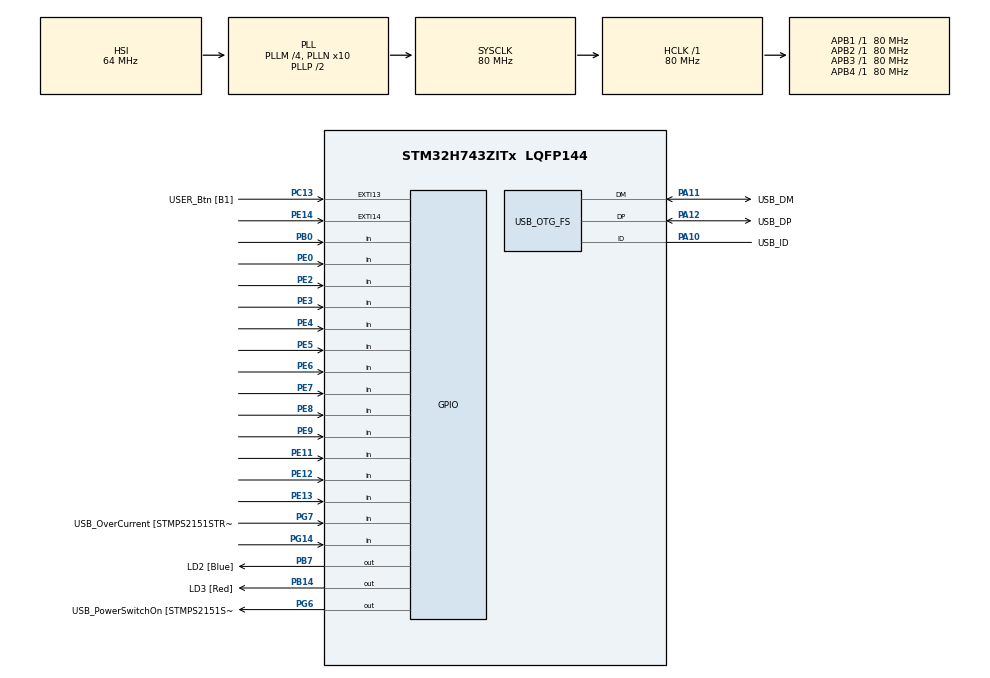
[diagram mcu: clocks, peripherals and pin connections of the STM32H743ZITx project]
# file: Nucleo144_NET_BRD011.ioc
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Bdma.MEMTOMEM.0.Direction=DMA_MEMORY_TO_MEMORY
Bdma.MEMTOMEM.0.EventEnable=DISABLE
Bdma.MEMTOMEM.0.Instance=BDMA_Channel0
Bdma.MEMTOMEM.0.MemDataAlignment=DMA_MDATAALIGN_HALFWORD
Bdma.MEMTOMEM.0.MemInc=DMA_MINC_ENABLE
Bdma.MEMTOMEM.0.Mode=DMA_NORMAL
Bdma.MEMTOMEM.0.PeriphDataAlignment=DMA_PDATAALIGN_HALFWORD
Bdma.MEMTOMEM.0.PeriphInc=DMA_PINC_ENABLE
Bdma.MEMTOMEM.0.Polarity=HAL_DMAMUX_REQ_GEN_RISING
Bdma.MEMTOMEM.0.Priority=DMA_PRIORITY_MEDIUM
Bdma.MEMTOMEM.0.RequestNumber=1
Bdma.MEMTOMEM.0.SignalID=HAL_DMAMUX2_REQ_GEN_BDMA_CH0_IT
Bdma.MEMTOMEM.0.SyncEnable=DISABLE
Bdma.MEMTOMEM.0.SyncPolarity=HAL_DMAMUX_SYNC_NO_EVENT
Bdma.MEMTOMEM.0.SyncRequestNumber=1
Bdma.Request0=MEMTOMEM
Bdma.RequestsNb=1
Mcu.Family=STM32H7
Mcu.Name=STM32H743ZITx
Mcu.Package=LQFP144
NVIC.PriorityGroup=NVIC_PRIORITYGROUP_4
PA1.GPIO_Label=RMII_REF_CLK
PA1.Signal=ETH_REF_CLK
PA10.GPIO_Label=USB_ID
PA10.Mode=OTG/Dual_Role_Device
PA10.Signal=USB_OTG_FS_ID
PA11.GPIO_Label=USB_DM
PA11.Mode=OTG/Dual_Role_Device
PA11.Signal=USB_OTG_FS_DM
PA12.GPIO_Label=USB_DP
PA12.Mode=OTG/Dual_Role_Device
PA12.Signal=USB_OTG_FS_DP
PA13.GPIO_Label=TMS
PA13.Signal=SYS_JTMS-SWDIO
PA14.GPIO_Label=TCK
PA14.Signal=SYS_JTCK-SWCLK
PA2.GPIO_Label=RMII_MDIO
PA2.Signal=ETH_MDIO
PA7.GPIO_Label=RMII_CRS_DV
PA7.Signal=ETH_CRS_DV
PA8.GPIO_Label=USB_SOF [TP1]
PA8.Signal=USB_OTG_FS_SOF
PA9.GPIO_Label=USB_VBUS
PA9.Signal=USB_OTG_FS_VBUS
PB0.Signal=GPIO_Input
PB13.GPIO_Label=RMII_TXD1
PB13.Signal=ETH_TXD1
PB14.GPIO_Label=LD3 [Red]
PB14.Signal=GPIO_Output
PB3.GPIO_Label=SWO
PB3.Signal=SYS_JTDO-SWO
PB7.GPIO_Label=LD2 [Blue]
PB7.Signal=GPIO_Output
PC1.GPIO_Label=RMII_MDC
PC1.Signal=ETH_MDC
PC13.GPIO_Label=USER_Btn [B1]
PC13.Signal=GPXTI13
PC14-OSC32_IN.Signal=RCC_OSC32_IN
PC15-OSC32_OUT.Signal=RCC_OSC32_OUT
PC4.GPIO_Label=RMII_RXD0
PC4.Signal=ETH_RXD0
PC5.GPIO_Label=RMII_RXD1
PC5.Signal=ETH_RXD1
PD8.GPIO_Label=STLK_RX [STM32F103CBT6_PA3]
PD8.Signal=USART3_TX
PD9.GPIO_Label=STLK_TX [STM32F103CBT6_PA2]
PD9.Signal=USART3_RX
PE0.Signal=GPIO_Input
PE11.Signal=GPIO_Input
PE12.Signal=GPIO_Input
PE13.Signal=GPIO_Input
PE14.Signal=GPXTI14
PE2.Signal=GPIO_Input
PE3.Signal=GPIO_Input
PE4.Signal=GPIO_Input
PE5.Signal=GPIO_Input
PE6.Signal=GPIO_Input
PE7.Signal=GPIO_Input
PE8.Signal=GPIO_Input
PE9.Signal=GPIO_Input
PG11.GPIO_Label=RMII_TX_EN
PG11.Signal=ETH_TX_EN
PG13.GPIO_Label=RMII_TXD0
PG13.Signal=ETH_TXD0
PG14.Signal=GPIO_Input
PG6.GPIO_Label=USB_PowerSwitchOn [STMPS2151STR_EN]
PG6.Signal=GPIO_Output
PG7.GPIO_Label=USB_OverCurrent [STMPS2151STR_FAULT]
PG7.Signal=GPIO_Input
PH0-OSC_IN.GPIO_Label=MCO
PH0-OSC_IN.Signal=RCC_OSC_IN
ProjectManager.HeapSize=0x200
ProjectManager.StackSize=0x400
ProjectManager.TargetToolchain=SW4STM32
RCC.48MHZClocksFreq_Value=24000000
RCC.ADCFreq_Value=129000000
RCC.AHBFreq_Value=216000000
RCC.APB1CLKDivider=RCC_HCLK_DIV4
RCC.APB1Freq_Value=80000000
RCC.APB1TimFreq_Value=108000000
RCC.APB2CLKDivider=RCC_HCLK_DIV2
RCC.APB2Freq_Value=80000000
RCC.APB2TimFreq_Value=216000000
RCC.APB3Freq_Value=80000000
RCC.APB4Freq_Value=80000000
RCC.CortexFreq_Value=80000000
RCC.DIVM1=4
RCC.DIVN1=10
RCC.DIVQ1=4
RCC.HCLKFreq_Value=80000000
RCC.HSE_VALUE=8000000
RCC.HSI_VALUE=64000000
RCC.PLLM=25
RCC.PLLMUL=RCC_PLL_MUL9
RCC.PLLN=432
RCC.PLLQ=9
RCC.PRESCALERUSB=RCC_USBCLKSOURCE_PLL_DIV1_5
RCC.SYSCLKFreq_VALUE=80000000
RCC.SYSCLKSource=RCC_SYSCLKSOURCE_PLLCLK
RCC.SYSCLKSourceVirtual=RCC_SYSCLKSOURCE_PLLCLK
RCC.USBCLockSelection=RCC_USBCLKSOURCE_HSI48
RCC.USBFreq_Value=48000000
RCC.VCOOutputFreq_Value=432000000
VP_RNG_VS_RNG.Mode=RNG_Activate
board=NUCLEO-H743ZI

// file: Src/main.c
/**
  ******************************************************************************
  * @file           : main.c
  * @brief          : Main program body
  ******************************************************************************
  ** This notice applies to any and all portions of this file
  * that are not between comment pairs USER CODE BEGIN and
  * USER CODE END. Other portions of this file, whether
  * inserted by the user or by software development tools
  * are owned by their respective copyright owners.
  *
  * COPYRIGHT(c) 2018 STMicroelectronics
  *
  * Redistribution and use in source and binary forms, with or without modification,
  * are permitted provided that the following conditions are met:
  *   1. Redistributions of source code must retain the above copyright notice,
  *      this list of conditions and the following disclaimer.
  *   2. Redistributions in binary form must reproduce the above copyright notice,
  *      this list of conditions and the following disclaimer in the documentation
  *      and/or other materials provided with the distribution.
  *   3. Neither the name of STMicroelectronics nor the names of its contributors
  *      may be used to endorse or promote products derived from this software
  *      without specific prior written permission.
  *
  * THIS SOFTWARE IS PROVIDED BY THE COPYRIGHT HOLDERS AND CONTRIBUTORS "AS IS"
  * AND ANY EXPRESS OR IMPLIED WARRANTIES, INCLUDING, BUT NOT LIMITED TO, THE
  * IMPLIED WARRANTIES OF MERCHANTABILITY AND FITNESS FOR A PARTICULAR PURPOSE ARE
  * DISCLAIMED. IN NO EVENT SHALL THE COPYRIGHT HOLDER OR CONTRIBUTORS BE LIABLE
  * FOR ANY DIRECT, INDIRECT, INCIDENTAL, SPECIAL, EXEMPLARY, OR CONSEQUENTIAL
  * DAMAGES (INCLUDING, BUT NOT LIMITED TO, PROCUREMENT OF SUBSTITUTE GOODS OR
  * SERVICES; LOSS OF USE, DATA, OR PROFITS; OR BUSINESS INTERRUPTION) HOWEVER
  * CAUSED AND ON ANY THEORY OF LIABILITY, WHETHER IN CONTRACT, STRICT LIABILITY,
  * OR TORT (INCLUDING NEGLIGENCE OR OTHERWISE) ARISING IN ANY WAY OUT OF THE USE
  * OF THIS SOFTWARE, EVEN IF ADVISED OF THE POSSIBILITY OF SUCH DAMAGE.
  *
  ******************************************************************************
  */
#include "main.h"
#include "stm32h7xx_hal.h"

/* USER CODE BEGIN Includes */
#include <unistd.h>
#include "nucleoPinIN.h"
/* USER CODE END Includes */

RNG_HandleTypeDef hrng;

DMA_HandleTypeDef hdma_memtomem_bdma_channel0;

/* USER CODE BEGIN PV */
/* Private variables ---------------------------------------------------------*/

/* USER CODE END PV */

void SystemClock_Config(void);
static void MX_GPIO_Init(void);
static void MX_BDMA_Init(void);
static void MX_RNG_Init(void);
static void MX_USB_OTG_FS_USB_Init(void);

/* USER CODE BEGIN PFP */
/* Private function prototypes -----------------------------------------------*/

/* USER CODE END PFP */

/* USER CODE BEGIN 0 */
extern void initialise_monitor_handles(void);
static tRADAR_ADC_GPIOin ADCin;

static const tNucleoGPIO listRadarADCgpio[] =
{
			{  // bit 0
					GPIOE,
					GPIO_PIN_2
			},
			{  // bit 1
					GPIOE,
					GPIO_PIN_3
			},
			{  // bit 2
					GPIOE,
					GPIO_PIN_4
			},
			{  // bit 3
					GPIOE,
					GPIO_PIN_5
			},
			{  // bit 4
					GPIOE,
					GPIO_PIN_6
			},
			{  // bit 5
					GPIOE,
					GPIO_PIN_7
			},
			{  // bit 6
					GPIOE,
					GPIO_PIN_8
			},
			{  // bit 7
					GPIOE,
					GPIO_PIN_9
			},
			{  // bit 8
					GPIOG,
					GPIO_PIN_14
			},
			{  // bit 9
					GPIOE,
					GPIO_PIN_11
			},
			{  // bit 10
					GPIOE,
					GPIO_PIN_12
			},
			{  // bit 11
					GPIOE,
					GPIO_PIN_13
			}

};

void initRadarADCGPIOmapping()
{
		ADCin.gpio = listRadarADCgpio;
}
/* USER CODE END 0 */

int main(void)
{

  /* MCU Configuration----------------------------------------------------------*/

  /* Reset of all peripherals, Initializes the Flash interface and the Systick. */
  HAL_Init();

  /* Configure the system clock */
  SystemClock_Config();

  /* Initialize all configured peripherals */
  MX_GPIO_Init();
  MX_BDMA_Init();
  MX_RNG_Init();
  MX_USB_OTG_FS_USB_Init();
  /* USER CODE BEGIN 2 */

  /*Configure GPIO pin Output Level */
  HAL_GPIO_WritePin(GPIOB, LD2_Pin, GPIO_PIN_SET);

  /* USER CODE END 2 */

  /* Infinite loop */
  /* USER CODE BEGIN WHILE */
  initialise_monitor_handles();  // for printf()

  GPIO_TypeDef* GPIO_PortButton = GPIOC;
  uint16_t GPIO_PinButton = GPIO_PIN_13;

//  uint16_t GPIO_Pin = GPIO_PIN_2;
//  char gpio_port[] = "GPIOE";
  initRadarADCGPIOmapping();

  while (1)
  {

  /* USER CODE END WHILE */
	  GPIO_PinState stateADCbit;
	  short regADC = 0;
	  for (int bit=0; bit< NET_BRD_011_ADC_OUT_BITS_NUM; bit++)
	  {
		  stateADCbit = HAL_GPIO_ReadPin(ADCin.gpio[bit].port, ADCin.gpio[bit].pin);
		  regADC |= stateADCbit << bit;
	  }

//	  GPIO_PinState state = HAL_GPIO_ReadPin(GPIOE, GPIO_Pin);

	  printf("regADC[12bit] = %d\n",regADC);
//	  printf("GPIO_Pin %s %d = %d \n",gpio_port, GPIO_Pin, state);

	  usleep(2000);
	  while(1)
	  {
		  GPIO_PinState stateButton = HAL_GPIO_ReadPin(GPIO_PortButton, GPIO_PinButton);
		  if (stateButton == GPIO_PIN_SET)
		  {
			  break;
		  }

	  }
  }

}

void SystemClock_Config(void)
{

  RCC_OscInitTypeDef RCC_OscInitStruct;
  RCC_ClkInitTypeDef RCC_ClkInitStruct;
  RCC_PeriphCLKInitTypeDef PeriphClkInitStruct;

    /**Supply configuration update enable
    */
  MODIFY_REG(PWR->CR3, PWR_CR3_SCUEN, 0);

    /**Configure the main internal regulator output voltage
    */
  __HAL_PWR_VOLTAGESCALING_CONFIG(PWR_REGULATOR_VOLTAGE_SCALE1);

  while ((PWR->D3CR & (PWR_D3CR_VOSRDY)) != PWR_D3CR_VOSRDY)
  {

  }
    /**Initializes the CPU, AHB and APB busses clocks
    */
  RCC_OscInitStruct.OscillatorType = RCC_OSCILLATORTYPE_HSI48|RCC_OSCILLATORTYPE_HSI;
  RCC_OscInitStruct.HSIState = RCC_HSI_DIV1;
  RCC_OscInitStruct.HSICalibrationValue = 16;
  RCC_OscInitStruct.HSI48State = RCC_HSI48_ON;
  RCC_OscInitStruct.PLL.PLLState = RCC_PLL_ON;
  RCC_OscInitStruct.PLL.PLLSource = RCC_PLLSOURCE_HSI;
  RCC_OscInitStruct.PLL.PLLM = 4;
  RCC_OscInitStruct.PLL.PLLN = 10;
  RCC_OscInitStruct.PLL.PLLP = 2;
  RCC_OscInitStruct.PLL.PLLQ = 4;
  RCC_OscInitStruct.PLL.PLLR = 2;
  RCC_OscInitStruct.PLL.PLLRGE = RCC_PLL1VCIRANGE_3;
  RCC_OscInitStruct.PLL.PLLVCOSEL = RCC_PLL1VCOMEDIUM;
  RCC_OscInitStruct.PLL.PLLFRACN = 0;
  if (HAL_RCC_OscConfig(&RCC_OscInitStruct) != HAL_OK)
  {
    _Error_Handler(__FILE__, __LINE__);
  }

    /**Initializes the CPU, AHB and APB busses clocks
    */
  RCC_ClkInitStruct.ClockType = RCC_CLOCKTYPE_HCLK|RCC_CLOCKTYPE_SYSCLK
                              |RCC_CLOCKTYPE_PCLK1|RCC_CLOCKTYPE_PCLK2
                              |RCC_CLOCKTYPE_D3PCLK1|RCC_CLOCKTYPE_D1PCLK1;
  RCC_ClkInitStruct.SYSCLKSource = RCC_SYSCLKSOURCE_PLLCLK;
  RCC_ClkInitStruct.SYSCLKDivider = RCC_SYSCLK_DIV1;
  RCC_ClkInitStruct.AHBCLKDivider = RCC_HCLK_DIV1;
  RCC_ClkInitStruct.APB3CLKDivider = RCC_APB3_DIV1;
  RCC_ClkInitStruct.APB1CLKDivider = RCC_APB1_DIV1;
  RCC_ClkInitStruct.APB2CLKDivider = RCC_APB2_DIV1;
  RCC_ClkInitStruct.APB4CLKDivider = RCC_APB4_DIV1;

  if (HAL_RCC_ClockConfig(&RCC_ClkInitStruct, FLASH_LATENCY_1) != HAL_OK)
  {
    _Error_Handler(__FILE__, __LINE__);
  }

  PeriphClkInitStruct.PeriphClockSelection = RCC_PERIPHCLK_RNG|RCC_PERIPHCLK_USB;
  PeriphClkInitStruct.RngClockSelection = RCC_RNGCLKSOURCE_HSI48;
  PeriphClkInitStruct.UsbClockSelection = RCC_USBCLKSOURCE_HSI48;
  if (HAL_RCCEx_PeriphCLKConfig(&PeriphClkInitStruct) != HAL_OK)
  {
    _Error_Handler(__FILE__, __LINE__);
  }

    /**Configure the Systick interrupt time
    */
  HAL_SYSTICK_Config(SystemCoreClock/1000);

    /**Configure the Systick
    */
  HAL_SYSTICK_CLKSourceConfig(SYSTICK_CLKSOURCE_HCLK);

  /* SysTick_IRQn interrupt configuration */
  HAL_NVIC_SetPriority(SysTick_IRQn, 0, 0);
}

/* RNG init function */
static void MX_RNG_Init(void)
{

  hrng.Instance = RNG;
  hrng.Init.ClockErrorDetection = RNG_CED_ENABLE;
  if (HAL_RNG_Init(&hrng) != HAL_OK)
  {
    _Error_Handler(__FILE__, __LINE__);
  }

}

/* USB_OTG_FS init function */
static void MX_USB_OTG_FS_USB_Init(void)
{

}

static void MX_BDMA_Init(void)
{
  /* DMA controller clock enable */
  __HAL_RCC_BDMA_CLK_ENABLE();

  /* Configure DMA request hdma_memtomem_bdma_channel0 on BDMA_Channel0 */
  hdma_memtomem_bdma_channel0.Instance = BDMA_Channel0;
  hdma_memtomem_bdma_channel0.Init.Request = BDMA_REQUEST_MEM2MEM;
  hdma_memtomem_bdma_channel0.Init.Direction = DMA_MEMORY_TO_MEMORY;
  hdma_memtomem_bdma_channel0.Init.PeriphInc = DMA_PINC_ENABLE;
  hdma_memtomem_bdma_channel0.Init.MemInc = DMA_MINC_ENABLE;
  hdma_memtomem_bdma_channel0.Init.PeriphDataAlignment = DMA_PDATAALIGN_HALFWORD;
  hdma_memtomem_bdma_channel0.Init.MemDataAlignment = DMA_MDATAALIGN_HALFWORD;
  hdma_memtomem_bdma_channel0.Init.Mode = DMA_NORMAL;
  hdma_memtomem_bdma_channel0.Init.Priority = DMA_PRIORITY_MEDIUM;
  if (HAL_DMA_Init(&hdma_memtomem_bdma_channel0) != HAL_OK)
  {
    _Error_Handler(__FILE__, __LINE__);
  }

}

/** Configure pins as
        * Analog
        * Input
        * Output
        * EVENT_OUT
        * EXTI
     PC1   ------> ETH_MDC
     PA1   ------> ETH_REF_CLK
     PA2   ------> ETH_MDIO
     PA7   ------> ETH_CRS_DV
     PC4   ------> ETH_RXD0
     PC5   ------> ETH_RXD1
     PB13   ------> ETH_TXD1
     PD8   ------> USART3_TX
     PD9   ------> USART3_RX
     PA8   ------> USB_OTG_FS_SOF
     PA10   ------> USB_OTG_FS_ID
     PA11   ------> USB_OTG_FS_DM
     PA12   ------> USB_OTG_FS_DP
     PG11   ------> ETH_TX_EN
     PG13   ------> ETH_TXD0
*/
static void MX_GPIO_Init(void)
{

  GPIO_InitTypeDef GPIO_InitStruct;

  /* GPIO Ports Clock Enable */
  __HAL_RCC_GPIOE_CLK_ENABLE();
  __HAL_RCC_GPIOC_CLK_ENABLE();
  __HAL_RCC_GPIOH_CLK_ENABLE();
  __HAL_RCC_GPIOA_CLK_ENABLE();
  __HAL_RCC_GPIOB_CLK_ENABLE();
  __HAL_RCC_GPIOD_CLK_ENABLE();
  __HAL_RCC_GPIOG_CLK_ENABLE();

  /*Configure GPIO pin Output Level */
  HAL_GPIO_WritePin(GPIOB, LD3_Pin|LD2_Pin, GPIO_PIN_RESET);

  /*Configure GPIO pin Output Level */
  HAL_GPIO_WritePin(USB_PowerSwitchOn_GPIO_Port, USB_PowerSwitchOn_Pin, GPIO_PIN_RESET);

  /*Configure GPIO pins : PE2 PE3 PE4 PE5
                           PE6 PE7 PE8 PE9
                           PE11 PE12 PE13 PE0 */
  GPIO_InitStruct.Pin = GPIO_PIN_2|GPIO_PIN_3|GPIO_PIN_4|GPIO_PIN_5
                          |GPIO_PIN_6|GPIO_PIN_7|GPIO_PIN_8|GPIO_PIN_9
                          |GPIO_PIN_11|GPIO_PIN_12|GPIO_PIN_13|GPIO_PIN_0;
  GPIO_InitStruct.Mode = GPIO_MODE_INPUT;
  GPIO_InitStruct.Pull = GPIO_NOPULL;
  HAL_GPIO_Init(GPIOE, &GPIO_InitStruct);

  /*Configure GPIO pin : USER_Btn_Pin */
  GPIO_InitStruct.Pin = USER_Btn_Pin;
  GPIO_InitStruct.Mode = GPIO_MODE_IT_RISING;
  GPIO_InitStruct.Pull = GPIO_NOPULL;
  HAL_GPIO_Init(USER_Btn_GPIO_Port, &GPIO_InitStruct);

  /*Configure GPIO pins : RMII_MDC_Pin RMII_RXD0_Pin RMII_RXD1_Pin */
  GPIO_InitStruct.Pin = RMII_MDC_Pin|RMII_RXD0_Pin|RMII_RXD1_Pin;
  GPIO_InitStruct.Mode = GPIO_MODE_AF_PP;
  GPIO_InitStruct.Pull = GPIO_NOPULL;
  GPIO_InitStruct.Speed = GPIO_SPEED_FREQ_LOW;
  GPIO_InitStruct.Alternate = GPIO_AF11_ETH;
  HAL_GPIO_Init(GPIOC, &GPIO_InitStruct);

  /*Configure GPIO pins : RMII_REF_CLK_Pin RMII_MDIO_Pin RMII_CRS_DV_Pin */
  GPIO_InitStruct.Pin = RMII_REF_CLK_Pin|RMII_MDIO_Pin|RMII_CRS_DV_Pin;
  GPIO_InitStruct.Mode = GPIO_MODE_AF_PP;
  GPIO_InitStruct.Pull = GPIO_NOPULL;
  GPIO_InitStruct.Speed = GPIO_SPEED_FREQ_LOW;
  GPIO_InitStruct.Alternate = GPIO_AF11_ETH;
  HAL_GPIO_Init(GPIOA, &GPIO_InitStruct);

  /*Configure GPIO pin : PB0 */
  GPIO_InitStruct.Pin = GPIO_PIN_0;
  GPIO_InitStruct.Mode = GPIO_MODE_INPUT;
  GPIO_InitStruct.Pull = GPIO_NOPULL;
  HAL_GPIO_Init(GPIOB, &GPIO_InitStruct);

  /*Configure GPIO pin : PE14 */
  GPIO_InitStruct.Pin = GPIO_PIN_14;
  GPIO_InitStruct.Mode = GPIO_MODE_IT_RISING;
  GPIO_InitStruct.Pull = GPIO_NOPULL;
  HAL_GPIO_Init(GPIOE, &GPIO_InitStruct);

  /*Configure GPIO pin : RMII_TXD1_Pin */
  GPIO_InitStruct.Pin = RMII_TXD1_Pin;
  GPIO_InitStruct.Mode = GPIO_MODE_AF_PP;
  GPIO_InitStruct.Pull = GPIO_NOPULL;
  GPIO_InitStruct.Speed = GPIO_SPEED_FREQ_LOW;
  GPIO_InitStruct.Alternate = GPIO_AF11_ETH;
  HAL_GPIO_Init(RMII_TXD1_GPIO_Port, &GPIO_InitStruct);

  /*Configure GPIO pins : LD3_Pin LD2_Pin */
  GPIO_InitStruct.Pin = LD3_Pin|LD2_Pin;
  GPIO_InitStruct.Mode = GPIO_MODE_OUTPUT_PP;
  GPIO_InitStruct.Pull = GPIO_NOPULL;
  GPIO_InitStruct.Speed = GPIO_SPEED_FREQ_LOW;
  HAL_GPIO_Init(GPIOB, &GPIO_InitStruct);

  /*Configure GPIO pins : STLK_RX_Pin STLK_TX_Pin */
  GPIO_InitStruct.Pin = STLK_RX_Pin|STLK_TX_Pin;
  GPIO_InitStruct.Mode = GPIO_MODE_AF_PP;
  GPIO_InitStruct.Pull = GPIO_NOPULL;
  GPIO_InitStruct.Speed = GPIO_SPEED_FREQ_LOW;
  GPIO_InitStruct.Alternate = GPIO_AF7_USART3;
  HAL_GPIO_Init(GPIOD, &GPIO_InitStruct);

  /*Configure GPIO pin : USB_PowerSwitchOn_Pin */
  GPIO_InitStruct.Pin = USB_PowerSwitchOn_Pin;
  GPIO_InitStruct.Mode = GPIO_MODE_OUTPUT_PP;
  GPIO_InitStruct.Pull = GPIO_NOPULL;
  GPIO_InitStruct.Speed = GPIO_SPEED_FREQ_LOW;
  HAL_GPIO_Init(USB_PowerSwitchOn_GPIO_Port, &GPIO_InitStruct);

  /*Configure GPIO pins : USB_OverCurrent_Pin PG14 */
  GPIO_InitStruct.Pin = USB_OverCurrent_Pin|GPIO_PIN_14;
  GPIO_InitStruct.Mode = GPIO_MODE_INPUT;
  GPIO_InitStruct.Pull = GPIO_NOPULL;
  HAL_GPIO_Init(GPIOG, &GPIO_InitStruct);

  /*Configure GPIO pins : USB_SOF_Pin USB_ID_Pin USB_DM_Pin USB_DP_Pin */
  GPIO_InitStruct.Pin = USB_SOF_Pin|USB_ID_Pin|USB_DM_Pin|USB_DP_Pin;
  GPIO_InitStruct.Mode = GPIO_MODE_AF_PP;
  GPIO_InitStruct.Pull = GPIO_NOPULL;
  GPIO_InitStruct.Speed = GPIO_SPEED_FREQ_LOW;
  GPIO_InitStruct.Alternate = GPIO_AF10_OTG1_FS;
  HAL_GPIO_Init(GPIOA, &GPIO_InitStruct);

  /*Configure GPIO pins : RMII_TX_EN_Pin RMII_TXD0_Pin */
  GPIO_InitStruct.Pin = RMII_TX_EN_Pin|RMII_TXD0_Pin;
  GPIO_InitStruct.Mode = GPIO_MODE_AF_PP;
  GPIO_InitStruct.Pull = GPIO_NOPULL;
  GPIO_InitStruct.Speed = GPIO_SPEED_FREQ_LOW;
  GPIO_InitStruct.Alternate = GPIO_AF11_ETH;
  HAL_GPIO_Init(GPIOG, &GPIO_InitStruct);

}

void _Error_Handler(char *file, int line)
{
  while(1)
  {
  }
}

/************************ (C) COPYRIGHT STMicroelectronics *****END OF FILE****/
